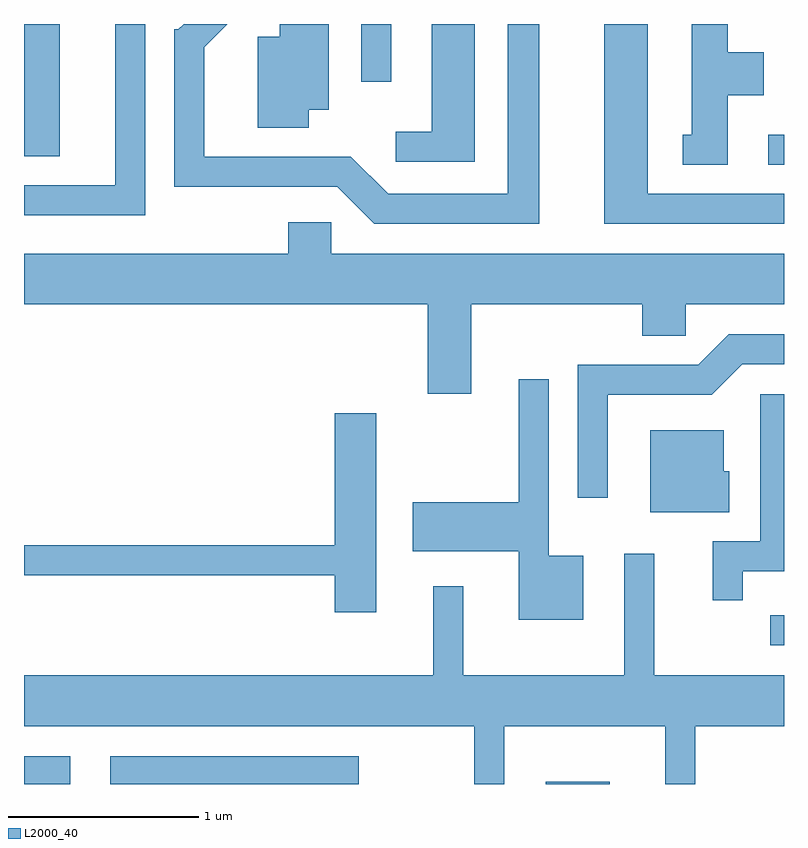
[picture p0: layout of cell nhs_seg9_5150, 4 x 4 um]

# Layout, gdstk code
import gdstk
lib = gdstk.Library(unit=1e-6, precision=1e-09)
def R(c, l, rs):  # rectangles x0, y0, x1, y1
    for r in rs: c.add(gdstk.rectangle(r[:2], r[2:], *l))
def P(c, l, *ps):  # polygons
    for p in ps: c.add(gdstk.Polygon(p, *l))
L2000_40 = (2000, 40)

nhs_seg9_5150 = lib.new_cell('nhs_seg9_5150')
R(nhs_seg9_5150, L2000_40, [(337.611,1960.432,337.854,1960.579), (338.066,1960.432,339.373,1960.579), (340.356,1960.432,340.694,1960.444), (341.538,1961.161,341.611,1961.319), (341.528,1963.691,341.611,1963.849), (337.611,1963.736,337.799,1964.432), (339.386,1964.128,339.544,1964.432)])
P(nhs_seg9_5150, L2000_40, [(340.324,1964.432),(340.156,1964.432),(340.156,1963.539),(339.527,1963.539),(339.332,1963.734),(338.559,1963.734),(338.559,1964.309),(338.682,1964.432),(338.452,1964.432),(338.424,1964.404),(338.401,1964.404),(338.401,1963.576),(339.259,1963.576),(339.454,1963.381),(340.324,1963.381)],
  [(339.109,1963.981),(339.214,1963.981),(339.214,1964.432),(338.956,1964.432),(338.956,1964.364),(338.841,1964.364),(338.841,1963.886),(339.109,1963.886)],
  [(339.984,1964.432),(339.756,1964.432),(339.756,1963.864),(339.568,1963.864),(339.568,1963.706),(339.984,1963.706)],
  [(341.611,1963.539),(340.894,1963.539),(340.894,1964.432),(340.666,1964.432),(340.666,1963.381),(341.611,1963.381)],
  [(338.249,1964.432),(338.091,1964.432),(338.091,1963.584),(337.611,1963.584),(337.611,1963.426),(338.249,1963.426)],
  [(341.314,1964.056),(341.504,1964.056),(341.504,1964.284),(341.314,1964.284),(341.314,1964.432),(341.126,1964.432),(341.126,1963.849),(341.078,1963.849),(341.078,1963.691),(341.314,1963.691)],
  [(339.964,1962.956),(340.866,1962.956),(340.866,1962.791),(341.094,1962.791),(341.094,1962.956),(341.611,1962.956),(341.611,1963.224),(339.229,1963.224),(339.229,1963.389),(339.001,1963.389),(339.001,1963.224),(337.611,1963.224),(337.611,1962.956),(339.736,1962.956),(339.736,1962.486),(339.964,1962.486)],
  [(340.684,1962.481),(341.232,1962.481),(341.392,1962.641),(341.611,1962.641),(341.611,1962.799),(341.319,1962.799),(341.159,1962.639),(340.526,1962.639),(340.526,1961.938),(340.684,1961.938)],
  [(340.554,1961.634),(340.374,1961.634),(340.374,1962.563),(340.216,1962.563),(340.216,1961.914),(339.656,1961.914),(339.656,1961.656),(340.216,1961.656),(340.216,1961.296),(340.554,1961.296)],
  [(341.394,1961.551),(341.611,1961.551),(341.611,1962.484),(341.486,1962.484),(341.486,1961.709),(341.236,1961.709),(341.236,1961.398),(341.394,1961.398)],
  [(339.464,1962.384),(339.246,1962.384),(339.246,1961.689),(337.611,1961.689),(337.611,1961.531),(339.246,1961.531),(339.246,1961.336),(339.464,1961.336)],
  [(341.324,1962.079),(341.294,1962.079),(341.294,1962.294),(340.906,1962.294),(340.906,1961.861),(341.324,1961.861)],
  [(340.139,1960.736),(340.986,1960.736),(340.986,1960.432),(341.144,1960.432),(341.144,1960.736),(341.611,1960.736),(341.611,1961.004),(340.929,1961.004),(340.929,1961.643),(340.771,1961.643),(340.771,1961.004),(339.924,1961.004),(339.924,1961.473),(339.766,1961.473),(339.766,1961.004),(337.611,1961.004),(337.611,1960.736),(339.981,1960.736),(339.981,1960.432),(340.139,1960.432)])

lib.write_gds('nhs_seg9_5150.gds')
